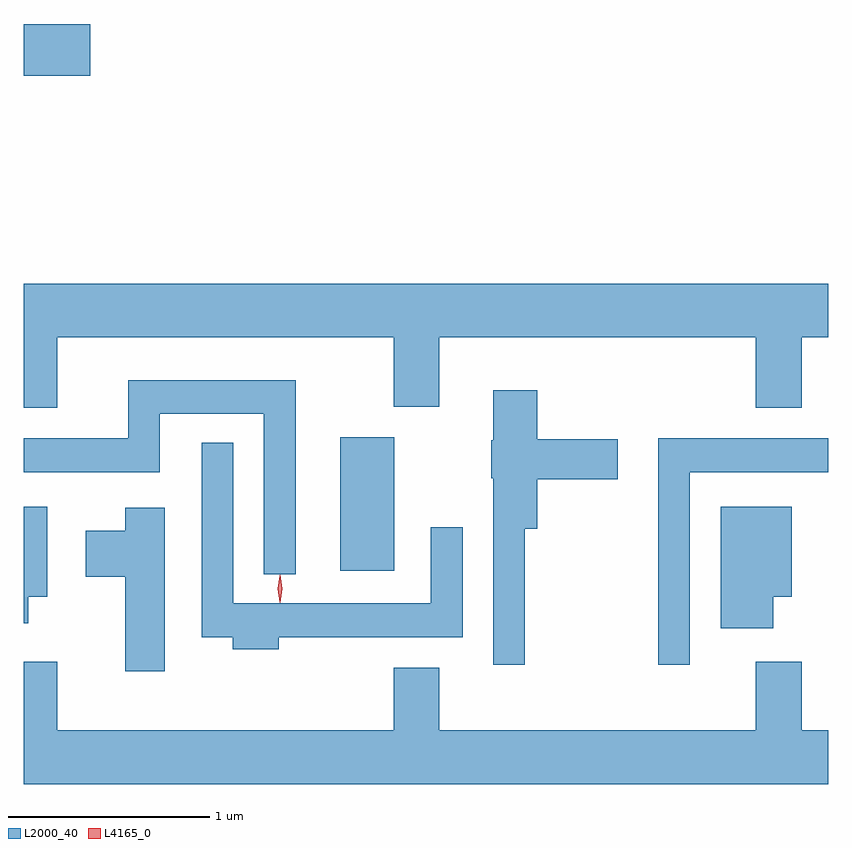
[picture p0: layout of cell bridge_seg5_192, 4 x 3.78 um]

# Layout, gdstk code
import gdstk
lib = gdstk.Library(unit=1e-6, precision=1e-09)
def R(c, l, rs):  # rectangles x0, y0, x1, y1
    for r in rs: c.add(gdstk.rectangle(r[:2], r[2:], *l))
def P(c, l, *ps):  # polygons
    for p in ps: c.add(gdstk.Polygon(p, *l))
L2000_40 = (2000, 40)
L4165_0 = (4165, 0)

bridge_seg5_192 = lib.new_cell('bridge_seg5_192')
R(bridge_seg5_192, L2000_40, [(1303.796,1428.996,1304.064,1429.659), (1302.222,1431.456,1302.554,1431.714)])
P(bridge_seg5_192, L2000_40, [(1302.389,1430.156),(1304.061,1430.156),(1304.061,1429.811),(1304.289,1429.811),(1304.289,1430.156),(1305.861,1430.156),(1305.861,1429.806),(1306.089,1429.806),(1306.089,1430.156),(1306.222,1430.156),(1306.222,1430.424),(1302.222,1430.424),(1302.222,1429.806),(1302.389,1429.806)],
  [(1303.574,1429.944),(1302.741,1429.944),(1302.741,1429.654),(1302.222,1429.654),(1302.222,1429.486),(1302.899,1429.486),(1302.899,1429.776),(1303.416,1429.776),(1303.416,1428.978),(1303.574,1428.978)],
  [(1304.714,1429.206),(1304.774,1429.206),(1304.774,1429.451),(1305.174,1429.451),(1305.174,1429.649),(1304.774,1429.649),(1304.774,1429.894),(1304.556,1429.894),(1304.556,1429.645),(1304.546,1429.645),(1304.546,1429.455),(1304.556,1429.455),(1304.556,1428.528),(1304.714,1428.528)],
  [(1305.534,1429.486),(1306.222,1429.486),(1306.222,1429.654),(1305.376,1429.654),(1305.376,1428.528),(1305.534,1428.528)],
  [(1303.489,1428.666),(1304.404,1428.666),(1304.404,1429.213),(1304.246,1429.213),(1304.246,1428.834),(1303.264,1428.834),(1303.264,1429.633),(1303.106,1429.633),(1303.106,1428.666),(1303.261,1428.666),(1303.261,1428.606),(1303.489,1428.606)],
  [(1305.949,1428.866),(1306.039,1428.866),(1306.039,1429.314),(1305.686,1429.314),(1305.686,1428.711),(1305.949,1428.711)],
  [(1302.244,1428.866),(1302.339,1428.866),(1302.339,1429.314),(1302.222,1429.314),(1302.222,1428.736),(1302.244,1428.736)],
  [(1302.924,1429.309),(1302.726,1429.309),(1302.726,1429.194),(1302.531,1429.194),(1302.531,1428.966),(1302.726,1428.966),(1302.726,1428.496),(1302.924,1428.496)],
  [(1306.222,1428.204),(1306.089,1428.204),(1306.089,1428.544),(1305.861,1428.544),(1305.861,1428.204),(1304.289,1428.204),(1304.289,1428.514),(1304.061,1428.514),(1304.061,1428.204),(1302.389,1428.204),(1302.389,1428.544),(1302.222,1428.544),(1302.222,1427.936),(1306.222,1427.936)])
P(bridge_seg5_192, L4165_0, [(1303.498,1428.837),(1303.497,1428.838),(1303.488,1428.907),(1303.497,1428.976),(1303.498,1428.976),(1303.498,1428.976),(1303.508,1428.907),(1303.498,1428.838)],
  [(1303.495,1428.839),(1303.494,1428.84),(1303.485,1428.906),(1303.494,1428.972),(1303.495,1428.973),(1303.495,1428.972),(1303.505,1428.906),(1303.495,1428.84)])

lib.write_gds('bridge_seg5_192.gds')
